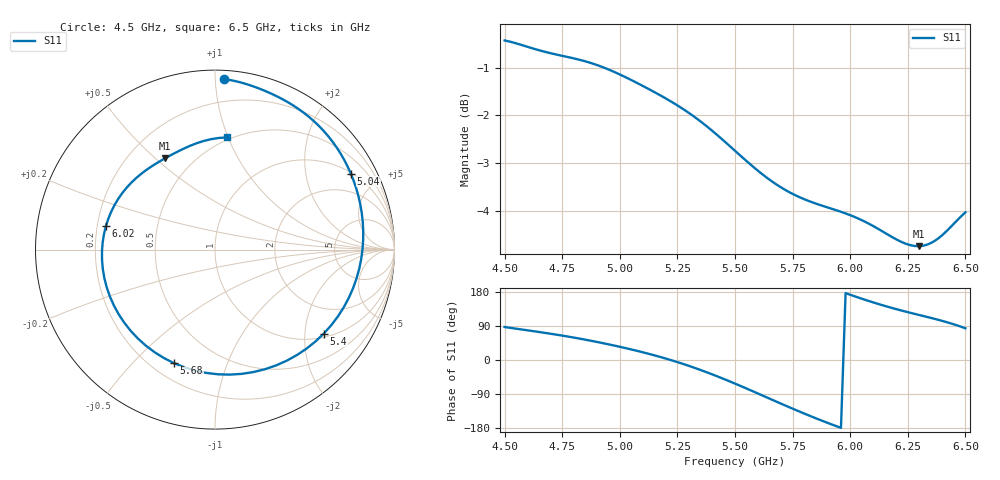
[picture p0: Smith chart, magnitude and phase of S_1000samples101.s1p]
! TOUCHSTONE file generated by CST MICROWAVE STUDIO
! Date and time: Thu Oct 27 00:09:09 2022
! Project name: L.cst
! Parameters = {Di=1.27; Epsilon_r=1.56; InnerDiameter=1.27; Length=2; Lf=10; Lg=60; OuterConductorThickness=0.2921; OuterDiameter=3.6; Wf=3; Wp=41.2; de=1.5; df=6.8; g=0.8; gx=4.98216; gy=1.88272; h=2.34; hf=1.524; px=12.0079; py=12.2444; w=9.7; wx=7.02573; wy=10.3617}
! Header version: 2018
! Port assignment regex: !\s*Touchstone port\s*([0-9]+)\s*=\s*(CST MWS port|CST DS port)\s*([0-9]+|Zmin|Zmax)\s*\(\"(.*)\"\)(\s*mode\s*([0-9]+))?.*
! Touchstone port assignment:
! Touchstone port 1 = CST MWS port 1 ("")
# GHz S DB R 50
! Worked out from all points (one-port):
!   101 points, 4.5 GHz to 6.5 GHz, reference 50 ohm
!   lowest |S11| = -4.7 dB at 6.3 GHz (marker M1), VSWR 3.76, Z = 17.5 + j26.9 ohm
!   |S11| at or under -10 dB: nowhere
!   S11 on the Smith chart (normalised r, x): 4.5 GHz: 0.05, +1.05; 5.04 GHz: 1.04, +3.55; 5.4 GHz: 1.11, -2.50; 5.68 GHz: 0.29, -0.66; 6.02 GHz: 0.24, +0.10; 6.5 GHz: 0.48, +0.99
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4.5  -0.43 87.0
4.62  -0.60 76.5
4.76  -0.77 63.4
4.88  -0.91 50.1
5  -1.14 34.8
5.04  -1.24 29.2
5.16  -1.54 10.7
5.26  -1.82 -7.5
5.34  -2.09 -24.0
5.4  -2.32 -37.6
5.46  -2.57 -52.1
5.5  -2.74 -62.2
5.54  -2.91 -72.6
5.58  -3.08 -83.2
5.62  -3.24 -93.9
5.68  -3.45 -109.9
5.76  -3.67 -131.0
5.82  -3.79 -146.2
5.88  -3.89 -160.8
5.94  -3.98 -174.6
6  -4.09 172.2
6.02  -4.13 168.0
6.08  -4.26 155.9
6.14  -4.43 144.6
6.26  -4.71 124.7
6.3  -4.74 118.6
6.42  -4.41 99.6
6.5  -4.03 83.7
